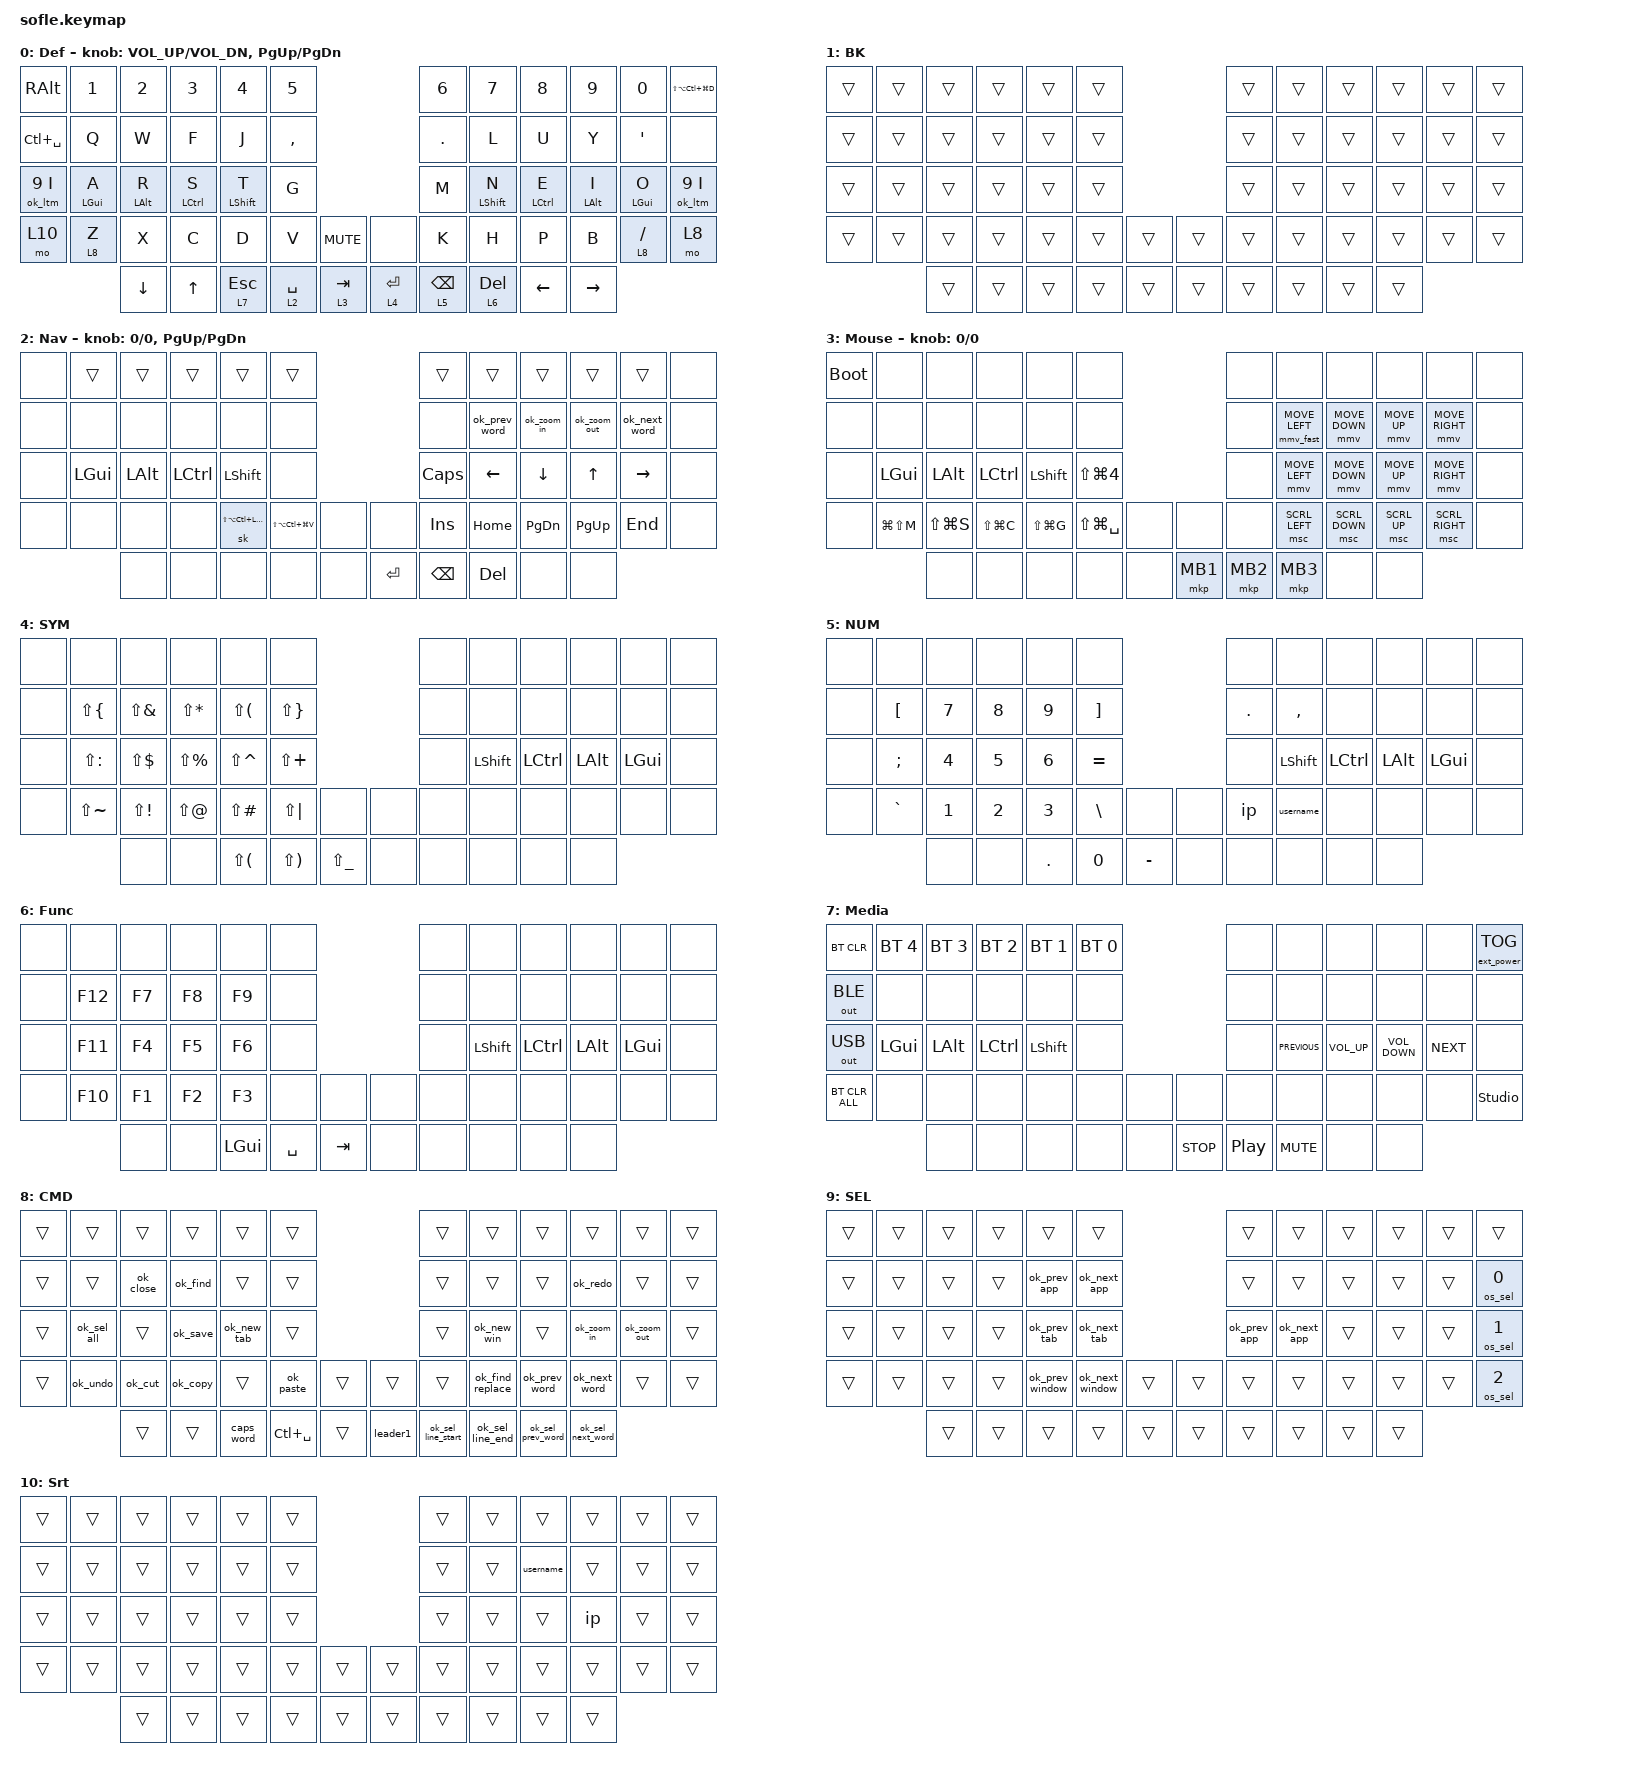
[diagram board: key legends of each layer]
/*
 * Copyright (c) 2020 The ZMK Contributors
 *
 * SPDX-License-Identifier: MIT
 */
//#include <behaviors/unicode.dtsi> /* Include the Unicode module */

#include <dt-bindings/zmk/oskey.h>
#include <behaviors.dtsi>
#include <dt-bindings/zmk/bt.h>
#include <dt-bindings/zmk/ext_power.h>
#include <dt-bindings/zmk/keys.h>
#include <dt-bindings/zmk/outputs.h>
#include <dt-bindings/zmk/pointing.h>

#define BASE 0
#define LOWER 1
#define RAISE 2
#define ADJUST 3

/ {
    // Activate ADJUST layer by pressing raise and lower

    conditional_layers { compatible = "zmk,conditional-layers"; };

    combos {
        compatible = "zmk,combos";

        Genpd1 {
            bindings = <&wp1>;
            key-positions = <22 34 48>;
            layers = <2>;
        };

        Genpd2 {
            bindings = <&wp2>;
            key-positions = <21 33 47>;
            layers = <2>;
        };

        cmbRaycast {
            bindings = <&kp LA(ENTER)>;
            key-positions = <54 55>;
            layers = <0>;
        };

        ToDef {
            bindings = <&to 0>;
            key-positions = <15 27 39>;
        };

        ToMouse {
            bindings = <&to 3>;
            key-positions = <14 26 38>;
        };

        ToNav {
            bindings = <&to 2>;
            key-positions = <13 25 37>;
        };

        CmbRaycastChat {
            bindings = <&kp LA(SPACE)>;
            key-positions = <53 56>;
            layers = <0>;
        };

        cmbRepeatL {
            bindings = <&key_repeat>;
            key-positions = <39 40>;
            timeout-ms = <50>;
        };

        cmbRepeatR {
            bindings = <&key_repeat>;
            key-positions = <45 46>;
            timeout-ms = <50>;
        };

        switchtoMac {
            bindings = <&os_sel 1>;
            key-positions = <22 23>;
            layers = <3>;
        };

        SwitchToWindows {
            bindings = <&os_sel 0>;
            key-positions = <34 35>;
            layers = <3>;
        };

        SwitchToAndroid {
            bindings = <&os_sel 2>;
            key-positions = <48 49>;
            layers = <3>;
        };
    };

    macros {
        wp1: wp1 {
            compatible = "zmk,behavior-macro";
            #binding-cells = <0>;
            bindings = <&kp AT &kp LS(T) &kp I &kp N0 &kp N2 &kp C &kp A &kp N0 &kp N9 &kp RET>;
            label = "WP1";
        };

        wp2: wp2 {
            compatible = "zmk,behavior-macro";
            #binding-cells = <0>;
            bindings = <&kp AT &kp LS(A) &kp N &kp H &kp K &kp H &kp O &kp I &kp N1 &kp N4 &kp B &kp E &kp N &kp G &kp O &kp C &kp RET>;
            label = "WP2";
        };

        ip: ip {
            compatible = "zmk,behavior-macro";
            #binding-cells = <0>;
            bindings = <&kp N1 &kp N9 &kp N2 &kp DOT &kp N1 &kp N6 &kp N8 &kp DOT &kp N1 &kp N0 &kp N0 &kp DOT>;
            label = "IP";
        };

        username: username {
            compatible = "zmk,behavior-macro";
            #binding-cells = <0>;
            bindings = <&kp L &kp Q &kp K &kp H &kp O &kp I>;
            label = "USERNAME";
        };
    };

    behaviors {
        ///// Start OS KKey  ///////////////////
        /* ── OS selector ────────────────────────────────────────────── */

        os_sel: os_selector {
            compatible = "zmk,behavior-os-selector";
            #binding-cells = <1>;
        };

        /* ── Commands ─────────────────────────────────────────────── */

        ok_cut: os_key_cut {
            compatible = "zmk,behavior-os-key";
            #binding-cells = <0>;

            /*             Win           Mac           Lin  */

            bindings = <&kp LC(X)>, <&kp LG(X)>, <&kp LC(X)>;
        };

        ok_copy: os_key_copy {
            compatible = "zmk,behavior-os-key";
            #binding-cells = <0>;

            /*             Win           Mac           Lin  */

            bindings = <&kp LC(C)>, <&kp LG(C)>, <&kp LC(C)>;
        };

        ok_paste: os_key_paste {
            compatible = "zmk,behavior-os-key";
            #binding-cells = <0>;

            /*             Win           Mac           Lin  */

            bindings = <&kp LC(V)>, <&kp LG(V)>, <&kp LC(V)>;
        };

        ok_undo: os_key_undo {
            compatible = "zmk,behavior-os-key";
            #binding-cells = <0>;

            /*             Win           Mac           Lin  */

            bindings = <&kp LC(Z)>, <&kp LG(Z)>, <&kp LC(Z)>;
        };

        ok_redo: os_key_redo {
            compatible = "zmk,behavior-os-key";
            #binding-cells = <0>;

            /*             Win         Mac                Lin  */

            bindings = <&kp LC(Y)>, <&kp LS(LG(Z))>, <&kp LS(LC(Z))>;
        };

        ok_sel_all: os_key_select_all {
            compatible = "zmk,behavior-os-key";
            #binding-cells = <0>;

            /*             Win           Mac           Lin  */

            bindings = <&kp LC(A)>, <&kp LG(A)>, <&kp LC(A)>;
        };

        ok_find: os_key_find {
            compatible = "zmk,behavior-os-key";
            #binding-cells = <0>;

            /*             Win           Mac           Lin  */

            bindings = <&kp LC(F)>, <&kp LG(F)>, <&kp LC(F)>;
        };

        ok_find_replace: os_key_find_replace {
            compatible = "zmk,behavior-os-key";
            #binding-cells = <0>;

            /*             Win           Mac           Lin  */

            bindings = <&kp LC(H)>, <&kp LG(H)>, <&kp LC(H)>;
        };

        ok_bold: os_key_bold {
            compatible = "zmk,behavior-os-key";
            #binding-cells = <0>;

            /*             Win           Mac           Lin  */

            bindings = <&kp LC(B)>, <&kp LG(B)>, <&kp LC(B)>;
        };

        ok_italic: os_key_italic {
            compatible = "zmk,behavior-os-key";
            #binding-cells = <0>;

            /*             Win           Mac           Lin  */

            bindings = <&kp LC(I)>, <&kp LG(I)>, <&kp LC(I)>;
        };

        ok_underline: os_key_underline {
            compatible = "zmk,behavior-os-key";
            #binding-cells = <0>;

            /*             Win           Mac           Lin  */

            bindings = <&kp LC(U)>, <&kp LG(U)>, <&kp LC(U)>;
        };

        ok_new_win: os_key_new_window {
            compatible = "zmk,behavior-os-key";
            #binding-cells = <0>;

            /*             Win           Mac           Lin  */

            bindings = <&kp LC(N)>, <&kp LG(N)>, <&kp LC(N)>;
        };

        ok_new_tab: os_key_new_tab {
            compatible = "zmk,behavior-os-key";
            #binding-cells = <0>;

            /*             Win           Mac           Lin  */

            bindings = <&kp LC(T)>, <&kp LG(T)>, <&kp LC(T)>;
        };

        ok_close: os_key_close {
            compatible = "zmk,behavior-os-key";
            #binding-cells = <0>;

            /*             Win           Mac           Lin  */

            bindings = <&kp LC(W)>, <&kp LG(W)>, <&kp LC(W)>;
        };

        ok_quit: os_key_quit {
            compatible = "zmk,behavior-os-key";
            #binding-cells = <0>;

            /*             Win            Mac           Lin  */

            bindings = <&kp LA(F4)>, <&kp LG(Q)>, <&kp LA(F4)>;
        };

        ok_reopen_tab: os_key_reopen_tab {
            compatible = "zmk,behavior-os-key";
            #binding-cells = <0>;

            /*                  Win                Mac               Lin  */

            bindings = <&kp LS(LC(T))>, <&kp LS(LG(T))>, <&kp LS(LC(T))>;
        };

        ok_open: os_key_open {
            compatible = "zmk,behavior-os-key";
            #binding-cells = <0>;

            /*             Win           Mac           Lin  */

            bindings = <&kp LC(O)>, <&kp LG(O)>, <&kp LC(O)>;
        };

        ok_save: os_key_save {
            compatible = "zmk,behavior-os-key";
            #binding-cells = <0>;

            /*             Win           Mac           Lin  */

            bindings = <&kp LC(S)>, <&kp LG(S)>, <&kp LC(S)>;
        };

        ok_save_as: os_key_save_as {
            compatible = "zmk,behavior-os-key";
            #binding-cells = <0>;

            /*                  Win                Mac               Lin  */

            bindings = <&kp LS(LC(S))>, <&kp LS(LG(S))>, <&kp LS(LC(S))>;
        };

        ok_print: os_key_print {
            compatible = "zmk,behavior-os-key";
            #binding-cells = <0>;

            /*             Win           Mac           Lin  */

            bindings = <&kp LC(P)>, <&kp LG(P)>, <&kp LC(P)>;
        };

        ok_zoom_in: os_key_zoom_in {
            compatible = "zmk,behavior-os-key";
            #binding-cells = <0>;

            /*                Win              Mac              Lin  */

            bindings = <&kp LC(EQUAL)>, <&kp LG(EQUAL)>, <&kp LC(EQUAL)>;
        };

        ok_zoom_out: os_key_zoom_out {
            compatible = "zmk,behavior-os-key";
            #binding-cells = <0>;

            /*                Win              Mac              Lin  */

            bindings = <&kp LC(MINUS)>, <&kp LG(MINUS)>, <&kp LC(MINUS)>;
        };

        ok_zoom_reset: os_key_zoom_reset {
            compatible = "zmk,behavior-os-key";
            #binding-cells = <0>;

            /*             Win            Mac            Lin  */

            bindings = <&kp LC(N0)>, <&kp LG(N0)>, <&kp LC(N0)>;
        };

        /* ── Navigation ─────────────────────────────────────────────── */

        ok_prev_word: os_key_prev_word {
            compatible = "zmk,behavior-os-key";
            #binding-cells = <0>;

            /*                  Win            Mac            Lin  */

            bindings = <&kp LC(LEFT)>, <&kp LA(LEFT)>, <&kp LC(LEFT)>;
        };

        ok_next_word: os_key_next_word {
            compatible = "zmk,behavior-os-key";
            #binding-cells = <0>;

            /*                  Win             Mac             Lin  */

            bindings = <&kp LC(RIGHT)>, <&kp LA(RIGHT)>, <&kp LC(RIGHT)>;
        };

        ok_line_start: os_key_line_start {
            compatible = "zmk,behavior-os-key";
            #binding-cells = <0>;

            /*              Win          Mac             Lin  */

            bindings = <&kp HOME>, <&kp LG(LEFT)>, <&kp HOME>;
        };

        ok_line_end: os_key_line_end {
            compatible = "zmk,behavior-os-key";
            #binding-cells = <0>;

            /*             Win           Mac              Lin  */

            bindings = <&kp END>, <&kp LG(RIGHT)>, <&kp END>;
        };

        ok_doc_start: os_key_doc_start {
            compatible = "zmk,behavior-os-key";
            #binding-cells = <0>;

            /*                Win           Mac          Lin  */

            bindings = <&kp LC(HOME)>, <&kp LG(UP)>, <&kp LC(HOME)>;
        };

        ok_doc_end: os_key_doc_end {
            compatible = "zmk,behavior-os-key";
            #binding-cells = <0>;

            /*               Win             Mac            Lin  */

            bindings = <&kp LC(END)>, <&kp LG(DOWN)>, <&kp LC(END)>;
        };

        /* ── Selection (Shift + Navigation) ─────────────────────────── */

        ok_sel_prev_word: os_key_sel_prev_word {
            compatible = "zmk,behavior-os-key";
            #binding-cells = <0>;

            /*                       Win                   Mac                   Lin  */

            bindings =
                <&kp LS(LC(LEFT))>,
                <&kp LS(LA(LEFT))>,
                <&kp LS(LC(LEFT))>;
        };

        ok_sel_next_word: os_key_sel_next_word {
            compatible = "zmk,behavior-os-key";
            #binding-cells = <0>;

            /*                        Win                    Mac                    Lin  */

            bindings =
                <&kp LS(LC(RIGHT))>,
                <&kp LS(LA(RIGHT))>,
                <&kp LS(LC(RIGHT))>;
        };

        ok_sel_line_start: os_key_sel_line_start {
            compatible = "zmk,behavior-os-key";
            #binding-cells = <0>;

            /*                   Win              Mac                Lin  */

            bindings = <&kp LS(HOME)>, <&kp LS(LG(LEFT))>, <&kp LS(HOME)>;
        };

        ok_sel_line_end: os_key_sel_line_end {
            compatible = "zmk,behavior-os-key";
            #binding-cells = <0>;

            /*                  Win             Mac                 Lin  */

            bindings = <&kp LS(END)>, <&kp LS(LG(RIGHT))>, <&kp LS(END)>;
        };

        ok_sel_doc_start: os_key_sel_doc_start {
            compatible = "zmk,behavior-os-key";
            #binding-cells = <0>;

            /*                     Win                Mac               Lin  */

            bindings = <&kp LS(LC(HOME))>, <&kp LS(LG(UP))>, <&kp LS(LC(HOME))>;
        };

        ok_sel_doc_end: os_key_sel_doc_end {
            compatible = "zmk,behavior-os-key";
            #binding-cells = <0>;

            /*                    Win                 Mac                Lin  */

            bindings = <&kp LS(LC(END))>, <&kp LS(LG(DOWN))>, <&kp LS(LC(END))>;
        };

        /* ── Window management ───────────────────────────────────────── */
        /* Linux shortcuts are DE-specific; override in your keymap.     */

        ok_ltm: os_layer_mod {
            compatible = "zmk,behavior-os-layer-mod";
            #binding-cells = <2>;

            /*
             * Hold: activates <layer> and holds the OS app-switch modifier,
             *   keeping the switcher menu open while held.
             * Tap: sends <keycode> normally.
             * Release: dismisses the switcher menu and deactivates the layer.
             *
             * Usage:  &ok_ltm APP_SWITCH_LAYER G
             *
             * Override mods in your keymap to use different modifiers.
             */

            tapping-term-ms = <200>;

            /*              Win           Mac           Lin  */

            bindings = <&kp LALT>, <&kp LGUI>, <&kp LGUI>;
        };

        ok_next_app: os_key_next_app {
            compatible = "zmk,behavior-os-key";
            #binding-cells = <0>;

            /*            Win           Mac           Lin  */

            bindings = <&kp LA(TAB)>, <&kp LG(TAB)>, <&kp LG(TAB)>;
        };

        ok_prev_app: os_key_prev_app {
            compatible = "zmk,behavior-os-key";
            #binding-cells = <0>;

            /*            Win           Mac           Lin  */

            bindings = <&kp LS(LA(TAB))>, <&kp LS(LG(TAB))>, <&kp LS(LG(TAB))>;
        };

        ok_next_tab: os_key_next_tab {
            compatible = "zmk,behavior-os-key";
            #binding-cells = <0>;

            /*            Win           Mac              Lin  */

            bindings = <&kp LC(RBRC)>, <&kp LG(RBRC)>, <&kp LC(PG_DN)>;
        };

        ok_prev_tab: os_key_prev_tab {
            compatible = "zmk,behavior-os-key";
            #binding-cells = <0>;

            /*            Win           Mac              Lin  */

            bindings = <&kp LC(LBRC)>, <&kp LG(LBRC)>, <&kp LC(PG_UP)>;
        };

        ok_next_window: os_key_next_window {
            compatible = "zmk,behavior-os-key";
            #binding-cells = <0>;

            /*            Win           Mac              Lin  */

            bindings = <&kp LG(GRAVE)>, <&kp LG(GRAVE)>, <&kp LG(GRAVE)>;
        };

        ok_prev_window: os_key_prev_window {
            compatible = "zmk,behavior-os-key";
            #binding-cells = <0>;

            /*            Win           Mac              Lin  */

            bindings =
                <&kp LG(LS(GRAVE))>,
                <&kp LG(LS(GRAVE))>,
                <&kp LG(LS(GRAVE))>;
        };

        ok_mission_ctrl: os_key_mission_control {
            compatible = "zmk,behavior-os-key";
            #binding-cells = <0>;

            /*                 Win            Mac          Lin (DE-specific) */

            bindings = <&kp LG(TAB)>, <&kp LC(UP)>, <&kp LGUI>;
        };

        ok_desktop: os_key_desktop {
            compatible = "zmk,behavior-os-key";
            #binding-cells = <0>;

            /*              Win           Mac             Lin (DE-specific) */

            bindings = <&kp LG(D)>, <&kp LG(LC(D))>, <&kp LG(D)>;
        };

        ok_lock: os_key_lock {
            compatible = "zmk,behavior-os-key";
            #binding-cells = <0>;

            /*               Win           Mac              Lin (Ubuntu/GNOME default) */

            bindings = <&kp LG(L)>, <&kp LG(LC(Q))>, <&kp LG(L)>;
        };

        ok_force_quit: os_key_force_quit {
            compatible = "zmk,behavior-os-key";
            #binding-cells = <0>;

            /*                  Win (Task Mgr)    Mac (Force Quit)    Lin (KDE: Sys Activity) */

            bindings = <&kp LS(LC(ESC))>, <&kp LA(LG(ESC))>, <&kp LC(ESC)>;
        };

        ///// Finish OS KKey  ///////////////////

        leader1: leader1 {
            compatible = "zmk,behavior-leader-key";
            #binding-cells = <0>;

            usb {
                sequence = <U S B>;
                bindings = <&out OUT_USB>;
            };

            ble {
                sequence = <B L E>;
                bindings = <&out OUT_BLE>;
            };

            bt0 {
                sequence = <B N0>;
                bindings = <&bt BT_SEL 0>;
            };

            bt1 {
                sequence = <B N1>;
                bindings = <&bt BT_SEL 1>;
            };

            bt2 {
                sequence = <B N2>;
                bindings = <&bt BT_SEL 2>;
            };

            btc {
                sequence = <C L E A R>;
                bindings = <&bt BT_CLR>;
            };

            boot {
                sequence = <B O O T>;
                bindings = <&bootloader>;
            };

            reset {
                sequence = <R E S E T>;
                bindings = <&sys_reset>;
            };
        };

        my_fast_lt: my_fast_lt {
            compatible = "zmk,behavior-hold-tap";
            #binding-cells = <2>;
            flavor = "balanced";    // Defines how overlaps are handled
            tapping-term-ms = <200>;     // Time to trigger the hold behavior
            //quick-tap-ms = <150>;        // Allows repeated taps without triggering the layer

            require-prior-idle-ms = <200>; // Prevents accidental layer activation during fast typing
            bindings = <&mo>, <&kp>;

            // Hold = Layer, Tap = Key

            quick-tap-ms = <50>;
        };

        hrl: hrl {
            compatible = "zmk,behavior-hold-tap";
            label = "HRL";
            bindings = <&kp>, <&kp>;

            #binding-cells = <2>;
            tapping-term-ms = <200>;
            quick-tap-ms = <175>;
            require-prior-idle-ms = <1>;
            flavor = "tap-preferred";
            hold-trigger-key-positions = <6 7 8 9 10 23 11 22 21 18 19 20 30 43 44 45 31 32 46 47 33 34 48 35 49>;
        };

        hrm: hrm {
            compatible = "zmk,behavior-hold-tap";
            label = "HRM";
            bindings = <&kp>, <&kp>;

            #binding-cells = <2>;
            tapping-term-ms = <200>;
            quick-tap-ms = <175>;
            require-prior-idle-ms = <1>;
            flavor = "tap-preferred";
            hold-trigger-key-positions = <0 1 2 0 1 2 3 12 13 14 15 24 25 26 27 36 37 38 39 4 5 16 17 28 29 41 42 40>;
        };

        layer_tap_repeat: layer_tap_repeat {
            compatible = "zmk,behavior-hold-tap";
            label = "LAYER_TAP_REPEAT";
            bindings = <&mo>, <&kp>;

            #binding-cells = <2>;
            tapping-term-ms = <200>;
            quick-tap-ms = <200>;
            flavor = "tap-preferred";
        };

        mmv_fast: mmv_fast {
            compatible = "zmk,behavior-input-two-axis";
            #binding-cells = <1>;
            x-input-code = <INPUT_REL_X>;
            y-input-code = <INPUT_REL_Y>;
            time-to-max-speed-ms = <50>;   // Almost instant acceleration (default is 300)
            acceleration-exponent = <1>;
        };
    };

    keymap {
        compatible = "zmk,keymap";

        Default {
            label = "Def";

            // ------------------------------------------------------------------------------------------------------------
            // |   `   |  1  |  2  |  3   |  4   |  5   |                   |  6   |  7    |  8    |  9   |   0   |       |
            // |  ESC  |  Q  |  W  |  E   |  R   |  T   |                   |  Y   |  U    |  I    |  O   |   P   | BKSPC |
            // |  TAB  |  A  |  S  |  D   |  F   |  G   |                   |  H   |  J    |  K    |  L   |   ;   |   '   |
            // | SHIFT |  Z  |  X  |  C   |  V   |  B   |  MUTE  |  |       |  N   |  M    |  ,    |  .   |   /   | SHIFT |
            //               | GUI | ALT  | CTRL | LOWER|  ENTER |  | SPACE | RAISE| CTRL  | ALT   | GUI  |

            bindings = <
&kp RIGHT_ALT  &kp N1           &kp N2           &kp N3               &kp N4             &kp N5                                                &kp N6                         &kp N7                      &kp N8               &kp N9           &kp N0               &kp LS(LA(LC(LG(D))))
&kp LC(SPACE)  &kp Q            &kp W            &kp F                &kp J              &kp COMMA                                             &kp DOT                        &kp L                       &kp U                &kp Y            &kp SQT              &none
&ok_ltm 9 I    &hrl LEFT_GUI A  &hrl LEFT_ALT R  &hrl LEFT_CONTROL S  &hrl LEFT_SHIFT T  &kp G                                                 &kp M                          &hrm LEFT_SHIFT N           &hrm LEFT_CONTROL E  &hrm LEFT_ALT I  &hrm LEFT_GUI O      &ok_ltm 9 I
&mo 10         &my_fast_lt 8 Z  &kp X            &kp C                &kp D              &kp V        &kp C_MUTE    &none                      &kp K                          &kp H                       &kp P                &kp B            &my_fast_lt 8 SLASH  &mo 8
                                &kp DOWN         &kp UP_ARROW         &lt 7 ESC          &lt 2 SPACE  &lt 3 TAB     &layer_tap_repeat 4 ENTER  &layer_tap_repeat 5 BACKSPACE  &layer_tap_repeat 6 DELETE  &kp LEFT_ARROW       &kp RIGHT
            >;

            sensor-bindings = <&inc_dec_kp C_VOL_UP C_VOL_DN &inc_dec_kp PG_UP PG_DN>;
        };

        BK {
            bindings = <
&trans  &trans  &trans  &trans  &trans  &trans                    &trans  &trans  &trans  &trans  &trans  &trans
&trans  &trans  &trans  &trans  &trans  &trans                    &trans  &trans  &trans  &trans  &trans  &trans
&trans  &trans  &trans  &trans  &trans  &trans                    &trans  &trans  &trans  &trans  &trans  &trans
&trans  &trans  &trans  &trans  &trans  &trans  &trans    &trans  &trans  &trans  &trans  &trans  &trans  &trans
                &trans  &trans  &trans  &trans  &trans    &trans  &trans  &trans  &trans  &trans
            >;

            label = "BK";
        };

        Nav {
            bindings = <
&none  &trans    &trans    &trans     &trans                    &trans                                   &trans        &trans         &trans       &trans        &trans         &none
&none  &none     &none     &none      &none                     &none                                    &none         &ok_prev_word  &ok_zoom_in  &ok_zoom_out  &ok_next_word  &none
&none  &kp LGUI  &kp LALT  &kp LCTRL  &kp LSHFT                 &none                                    &kp CAPSLOCK  &kp LEFT       &kp DOWN     &kp UP        &kp RIGHT      &none
&none  &none     &none     &none      &sk LS(LA(LC(LEFT_GUI)))  &kp LS(LA(LC(LG(V))))  &none    &none    &kp INSERT    &kp HOME       &kp PG_DN    &kp PG_UP     &kp END        &none
                 &none     &none      &none                     &none                  &none    &kp RET  &kp BSPC      &kp DEL        &none        &none
            >;

            label = "Nav";
            sensor-bindings = <&inc_dec_kp 0 0>, <&inc_dec_kp PG_UP PG_DN>;
        };

        Mouse {
            bindings = <
&bootloader  &none          &none          &none          &none          &none                                    &none     &none                &none           &none         &none            &none
&none        &none          &none          &none          &none          &none                                    &none     &mmv_fast MOVE_LEFT  &mmv MOVE_DOWN  &mmv MOVE_UP  &mmv MOVE_RIGHT  &none
&none        &kp LGUI       &kp LALT       &kp LCTRL      &kp LSHFT      &kp LS(LG(NUMBER_4))                     &none     &mmv MOVE_LEFT       &mmv MOVE_DOWN  &mmv MOVE_UP  &mmv MOVE_RIGHT  &none
&none        &kp LG(LS(M))  &kp LS(LG(S))  &kp LS(LG(C))  &kp LS(LG(G))  &kp LS(LG(SPACE))     &none    &none     &none     &msc SCRL_LEFT       &msc SCRL_DOWN  &msc SCRL_UP  &msc SCRL_RIGHT  &none
                            &none          &none          &none          &none                 &none    &mkp MB1  &mkp MB2  &mkp MB3             &none           &none
            >;

            label = "Mouse";
            sensor-bindings = <&inc_dec_kp 0 0>;
        };

        SYM {
            bindings = <
&none  &none          &none         &none          &none          &none                                 &none  &none      &none      &none     &none     &none
&none  &kp LS(LBRC)   &kp LS(AMPS)  &kp LS(STAR)   &kp LS(LPAR)   &kp LS(RBRC)                          &none  &none      &none      &none     &none     &none
&none  &kp LS(COLON)  &kp LS(DLLR)  &kp LS(PRCNT)  &kp LS(CARET)  &kp LS(PLUS)                          &none  &kp LSHFT  &kp LCTRL  &kp LALT  &kp LGUI  &none
&none  &kp LS(TILDE)  &kp LS(EXCL)  &kp LS(AT)     &kp LS(POUND)  &kp LS(PIPE)  &none            &none  &none  &none      &none      &none     &none     &none
                      &none         &none          &kp LS(LPAR)   &kp LS(RPAR)  &kp LS(UNDER)    &none  &none  &none      &none      &none
            >;

            label = "SYM";
        };

        NUM {
            bindings = <
&none  &none      &none   &none   &none    &none                          &none    &none      &none      &none     &none     &none
&none  &kp LBKT   &kp N7  &kp N8  &kp N9   &kp RBKT                       &kp DOT  &kp COMMA  &none      &none     &none     &none
&none  &kp SEMI   &kp N4  &kp N5  &kp N6   &kp EQUAL                      &none    &kp LSHFT  &kp LCTRL  &kp LALT  &kp LGUI  &none
&none  &kp GRAVE  &kp N1  &kp N2  &kp N3   &kp BSLH   &none        &none  &ip      &username  &none      &none     &none     &none
                  &none   &none   &kp DOT  &kp N0     &kp MINUS    &none  &none    &none      &none      &none
            >;

            label = "NUM";
        };

        Func {
            bindings = <
&none  &none    &none   &none   &none     &none                        &none  &none      &none      &none     &none     &none
&none  &kp F12  &kp F7  &kp F8  &kp F9    &none                        &none  &none      &none      &none     &none     &none
&none  &kp F11  &kp F4  &kp F5  &kp F6    &none                        &none  &kp LSHFT  &kp LCTRL  &kp LALT  &kp LGUI  &none
&none  &kp F10  &kp F1  &kp F2  &kp F3    &none      &none      &none  &none  &none      &none      &none     &none     &none
                &none   &none   &kp LGUI  &kp SPACE  &kp TAB    &none  &none  &none      &none      &none
            >;

            label = "Func";
        };

        Media {
            bindings = <
&bt BT_CLR      &bt BT_SEL 4  &bt BT_SEL 3  &bt BT_SEL 2  &bt BT_SEL 1  &bt BT_SEL 0                       &none             &none           &none            &none              &none       &ext_power EP_TOG
&out OUT_BLE    &none         &none         &none         &none         &none                              &none             &none           &none            &none              &none       &none
&out OUT_USB    &kp LGUI      &kp LALT      &kp LCTRL     &kp LSHFT     &none                              &none             &kp C_PREVIOUS  &kp C_VOLUME_UP  &kp C_VOLUME_DOWN  &kp C_NEXT  &none
&bt BT_CLR_ALL  &none         &none         &none         &none         &none         &none    &none       &none             &none           &none            &none              &none       &studio_unlock
                              &none         &none         &none         &none         &none    &kp C_STOP  &kp C_PLAY_PAUSE  &kp K_MUTE      &none            &none
            >;

            label = "Media";
        };

        Cmd {
            bindings = <
&trans  &trans       &trans     &trans    &trans       &trans                             &trans              &trans            &trans             &trans             &trans        &trans
&trans  &trans       &ok_close  &ok_find  &trans       &trans                             &trans              &trans            &trans             &ok_redo           &trans        &trans
&trans  &ok_sel_all  &trans     &ok_save  &ok_new_tab  &trans                             &trans              &ok_new_win       &trans             &ok_zoom_in        &ok_zoom_out  &trans
&trans  &ok_undo     &ok_cut    &ok_copy  &trans       &ok_paste      &trans    &trans    &trans              &ok_find_replace  &ok_prev_word      &ok_next_word      &trans        &trans
                     &trans     &trans    &caps_word   &kp LC(SPACE)  &trans    &leader1  &ok_sel_line_start  &ok_sel_line_end  &ok_sel_prev_word  &ok_sel_next_word
            >;

            label = "CMD";
        };

        Sel {
            bindings = <
&trans  &trans  &trans  &trans  &trans           &trans                             &trans        &trans        &trans  &trans  &trans  &trans
&trans  &trans  &trans  &trans  &ok_prev_app     &ok_next_app                       &trans        &trans        &trans  &trans  &trans  &os_sel 0
&trans  &trans  &trans  &trans  &ok_prev_tab     &ok_next_tab                       &ok_prev_app  &ok_next_app  &trans  &trans  &trans  &os_sel 1
&trans  &trans  &trans  &trans  &ok_prev_window  &ok_next_window  &trans    &trans  &trans        &trans        &trans  &trans  &trans  &os_sel 2
                &trans  &trans  &trans           &trans           &trans    &trans  &trans        &trans        &trans  &trans
            >;

            label = "SEL";
        };

        Short {
            bindings = <
&trans  &trans  &trans  &trans  &trans  &trans                    &trans  &trans  &trans     &trans  &trans  &trans
&trans  &trans  &trans  &trans  &trans  &trans                    &trans  &trans  &username  &trans  &trans  &trans
&trans  &trans  &trans  &trans  &trans  &trans                    &trans  &trans  &trans     &ip     &trans  &trans
&trans  &trans  &trans  &trans  &trans  &trans  &trans    &trans  &trans  &trans  &trans     &trans  &trans  &trans
                &trans  &trans  &trans  &trans  &trans    &trans  &trans  &trans  &trans     &trans
            >;

            label = "Srt";
        };
    };
};
